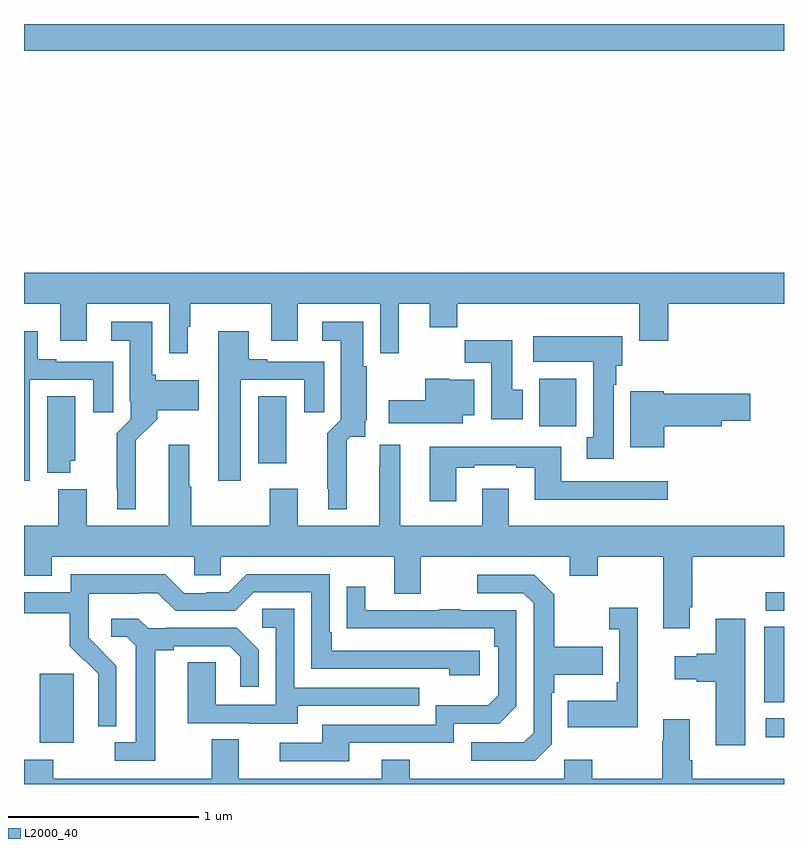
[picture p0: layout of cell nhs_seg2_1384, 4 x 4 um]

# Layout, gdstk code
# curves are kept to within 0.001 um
import gdstk
lib = gdstk.Library(unit=1e-6, precision=1e-09)
def R(c, l, rs):  # rectangles x0, y0, x1, y1
    for r in rs: c.add(gdstk.rectangle(r[:2], r[2:], *l))
def P(c, l, *ps):  # polygons
    for p in ps: c.add(gdstk.Polygon(p, *l))
L2000_40 = (2000, 40)

nhs_seg2_1384 = lib.new_cell('nhs_seg2_1384')
R(nhs_seg2_1384, L2000_40, [(183.083,620.018,183.262,620.379), (186.903,620.047,187,620.145), (186.896,620.23,187,620.627), (186.903,620.712,187,620.808), (184.232,621.489,184.381,621.842), (185.711,621.684,185.907,621.934), (183,623.66,187,623.8)])
P(nhs_seg2_1384, L2000_40, [(183.862,622.206),(183.874,622.206),(183.874,622.328),(184.301,622.328),(184.301,622.134),(184.441,622.134),(184.441,622.328),(184.875,622.328),(184.875,622.068),(184.972,622.068),(184.972,622.328),(185.135,622.328),(185.135,622.204),(185.279,622.204),(185.279,622.328),(186.239,622.328),(186.239,622.134),(186.392,622.134),(186.392,622.328),(187,622.328),(187,622.492),(183,622.492),(183,622.328),(183.191,622.328),(183.191,622.134),(183.331,622.134),(183.331,622.328),(183.765,622.328),(183.765,622.068),(183.862,622.068)],
  [(184.699,621.61),(184.716,621.627),(184.797,621.627),(184.797,621.708),(184.804,621.715),(184.804,621.999),(184.786,621.999),(184.786,622.234),(184.569,622.234),(184.569,622.133),(184.667,622.133),(184.667,621.716),(184.597,621.646),(184.597,621.355),(184.601,621.355),(184.601,621.245),(184.699,621.245)],
  [(183.589,621.608),(183.702,621.721),(183.702,621.767),(183.919,621.767),(183.919,621.925),(183.694,621.925),(183.694,621.954),(183.676,621.954),(183.676,622.234),(183.459,622.234),(183.459,622.133),(183.557,622.133),(183.557,621.814),(183.561,621.814),(183.561,621.72),(183.487,621.646),(183.487,621.355),(183.491,621.355),(183.491,621.245),(183.589,621.245)],
  [(183.031,621.927),(183.365,621.927),(183.365,621.756),(183.469,621.756),(183.469,622.023),(183.169,622.023),(183.169,622.036),(183.073,622.036),(183.073,622.183),(183,622.183),(183,621.396),(183.031,621.396)],
  [(184.141,621.927),(184.475,621.927),(184.475,621.756),(184.579,621.756),(184.579,622.023),(184.279,622.023),(184.279,622.036),(184.183,622.036),(184.183,622.183),(184.022,622.183),(184.022,621.396),(184.141,621.396)],
  [(186.103,621.902),(186.118,621.902),(186.118,622.002),(186.148,622.002),(186.148,622.156),(185.679,622.156),(185.679,622.022),(185.996,622.022),(185.996,621.625),(185.963,621.625),(185.963,621.513),(186.103,621.513)],
  [(185.626,621.876),(185.569,621.876),(185.569,622.135),(185.32,622.135),(185.32,622.016),(185.459,622.016),(185.459,621.72),(185.626,621.72)],
  [(185.308,621.74),(185.371,621.74),(185.371,621.928),(185.238,621.928),(185.238,621.934),(185.113,621.934),(185.113,621.82),(184.92,621.82),(184.92,621.698),(185.308,621.698)],
  [(186.37,621.683),(186.673,621.683),(186.673,621.713),(186.823,621.713),(186.823,621.855),(186.366,621.855),(186.366,621.868),(186.191,621.868),(186.191,621.572),(186.37,621.572)],
  [(183.244,621.501),(183.271,621.501),(183.271,621.842),(183.122,621.842),(183.122,621.437),(183.244,621.437)],
  [(184.949,620.802),(185.089,620.802),(185.089,620.996),(185.873,620.996),(185.873,620.897),(186.021,620.897),(186.021,620.996),(186.365,620.996),(186.365,620.619),(186.505,620.619),(186.505,620.731),(186.518,620.731),(186.518,620.996),(187,620.996),(187,621.16),(185.551,621.16),(185.551,621.355),(185.411,621.355),(185.411,621.16),(184.981,621.16),(184.981,621.586),(184.872,621.586),(184.872,621.473),(184.871,621.473),(184.871,621.16),(184.441,621.16),(184.441,621.355),(184.294,621.355),(184.294,621.16),(183.879,621.16),(183.879,621.365),(183.871,621.365),(183.871,621.586),(183.761,621.586),(183.761,621.16),(183.331,621.16),(183.331,621.352),(183.179,621.352),(183.179,621.16),(183,621.16),(183,620.897),(183.145,620.897),(183.145,620.996),(183.897,620.996),(183.897,620.898),(184.035,620.898),(184.035,620.996),(184.949,620.996)],
  [(185.275,621.465),(185.371,621.465),(185.371,621.477),(185.591,621.477),(185.591,621.465),(185.687,621.465),(185.687,621.296),(186.388,621.296),(186.388,621.393),(185.827,621.393),(185.827,621.574),(185.135,621.574),(185.135,621.288),(185.275,621.288)],
  [(183.486,620.422),(183.34,620.57),(183.34,620.667),(183.342,620.667),(183.342,620.801),(183.605,620.801),(183.605,620.805),(183.705,620.805),(183.798,620.712),(184.113,620.712),(184.209,620.808),(184.512,620.808),(184.512,620.406),(185.237,620.406),(185.237,620.372),(185.398,620.372),(185.398,620.502),(184.621,620.502),(184.621,620.599),(184.608,620.599),(184.608,620.904),(184.173,620.904),(184.077,620.808),(183.959,620.808),(183.959,620.805),(183.843,620.805),(183.743,620.905),(183.246,620.905),(183.246,620.808),(183,620.808),(183,620.7),(183.241,620.7),(183.241,620.525),(183.318,620.448),(183.321,620.451),(183.392,620.381),(183.392,620.258),(183.39,620.258),(183.39,620.104),(183.486,620.104)],
  [(185.778,620.01),(185.778,620.279),(185.791,620.279),(185.791,620.375),(186.047,620.375),(186.047,620.523),(185.791,620.523),(185.791,620.795),(185.685,620.901),(185.385,620.901),(185.385,620.805),(185.628,620.805),(185.682,620.751),(185.682,620.07),(185.631,620.019),(185.355,620.019),(185.355,619.923),(185.691,619.923)],
  [(184.711,620.016),(185.262,620.016),(185.262,620.118),(185.502,620.118),(185.592,620.208),(185.592,620.715),(185.297,620.715),(185.297,620.72),(185.185,620.72),(185.185,620.715),(184.795,620.715),(184.795,620.839),(184.699,620.839),(184.699,620.62),(185.476,620.619),(185.476,620.522),(185.496,620.522),(185.496,620.268),(185.443,620.215),(185.166,620.215),(185.166,620.112),(184.571,620.112),(184.571,620.016),(184.347,620.016),(184.347,619.92),(184.711,619.92)],
  [(186.23,620.728),(186.081,620.728),(186.081,620.615),(186.132,620.615),(186.132,620.335),(186.12,620.335),(186.12,620.239),(185.863,620.239),(185.863,620.099),(186.23,620.099)],
  [(184.441,620.211),(185.081,620.211),(185.081,620.307),(184.422,620.307),(184.422,620.723),(184.254,620.723),(184.254,620.622),(184.326,620.622),(184.326,620.217),(184.008,620.217),(184.008,620.441),(183.863,620.441),(183.863,620.121),(184.187,620.121),(184.187,620.117),(184.441,620.117)],
  [(186.796,620.671),(186.641,620.671),(186.641,620.486),(186.542,620.486),(186.542,620.473),(186.426,620.473),(186.426,620.351),(186.542,620.351),(186.542,620.339),(186.641,620.339),(186.641,620.004),(186.796,620.004)],
  [(183.691,620.504),(183.787,620.504),(183.787,620.526),(184.082,620.526),(184.139,620.469),(184.139,620.313),(184.236,620.313),(184.236,620.506),(184.12,620.622),(183.748,620.622),(183.748,620.619),(183.654,620.619),(183.602,620.671),(183.459,620.671),(183.459,620.574),(183.54,620.574),(183.587,620.527),(183.587,620.019),(183.477,620.019),(183.477,619.923),(183.691,619.923)],
  [(187,619.828),(186.518,619.828),(186.518,619.924),(186.505,619.924),(186.505,620.14),(186.365,620.14),(186.365,620.027),(186.358,620.027),(186.358,619.828),(185.991,619.828),(185.991,619.927),(185.844,619.927),(185.844,619.828),(185.031,619.828),(185.031,619.927),(184.883,619.927),(184.883,619.828),(184.129,619.828),(184.129,620.036),(183.989,620.036),(183.989,619.828),(183.153,619.828),(183.153,619.927),(183,619.927),(183,619.8),(187,619.8)])

lib.write_gds('nhs_seg2_1384.gds')
